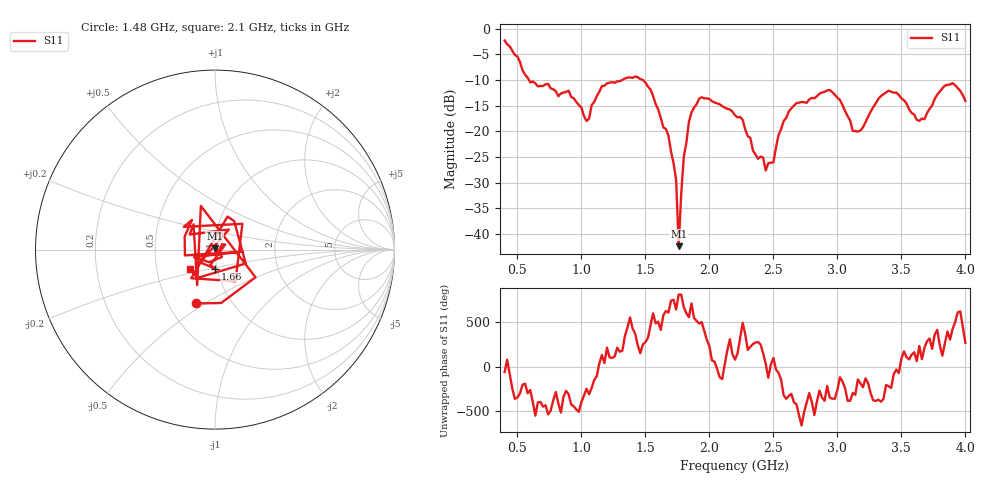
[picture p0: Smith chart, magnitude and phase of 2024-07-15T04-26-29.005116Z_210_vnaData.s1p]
!Created with skrf (http://scikit-rf.org).
# Hz S RI R 50.0
!freq ReS11 ImS11
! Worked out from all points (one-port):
!   181 points, 400 MHz to 4 GHz, reference 50 ohm
!   lowest |S11| = -42.3 dB at 1.76 GHz (marker M1), VSWR 1.02, Z = 49.9 + j0.757 ohm
!   |S11| at or under -10 dB: 590.2 MHz to 1.318 GHz (727.5 MHz wide, 76.3 % of centre); 1.482 GHz to end of sweep
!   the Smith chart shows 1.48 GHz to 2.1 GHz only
!   S11 on the Smith chart (normalised r, x): 1.48 GHz: 0.68, -0.46; 1.66 GHz: 0.98, -0.21; 2.1 GHz: 0.74, -0.17
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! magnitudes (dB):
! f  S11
! 400 MHz  -2.3
! 600 MHz  -10.5
! 860 MHz  -12.4
! 1.04 GHz  -18.0
! 1.16 GHz  -11.2
! 1.3 GHz  -10.2
! 1.48 GHz  -9.9
! 1.66 GHz  -19.5
! 1.74 GHz  -29.4
! 1.76 GHz  -42.3
! 1.8 GHz  -24.9
! 1.86 GHz  -16.3
! 1.94 GHz  -13.3
! 2.1 GHz  -15.1
! 2.2 GHz  -16.9
! 2.26 GHz  -17.8
! 2.44 GHz  -27.6
! 2.5 GHz  -26.0
! 2.54 GHz  -20.7
! 2.66 GHz  -15.0
! 2.94 GHz  -11.9
! 3.1 GHz  -17.9
! 3.18 GHz  -19.8
! 3.4 GHz  -12.1
! 3.56 GHz  -15.7
! 3.68 GHz  -17.6
! 3.9 GHz  -10.6
! 4 GHz  -14.0
